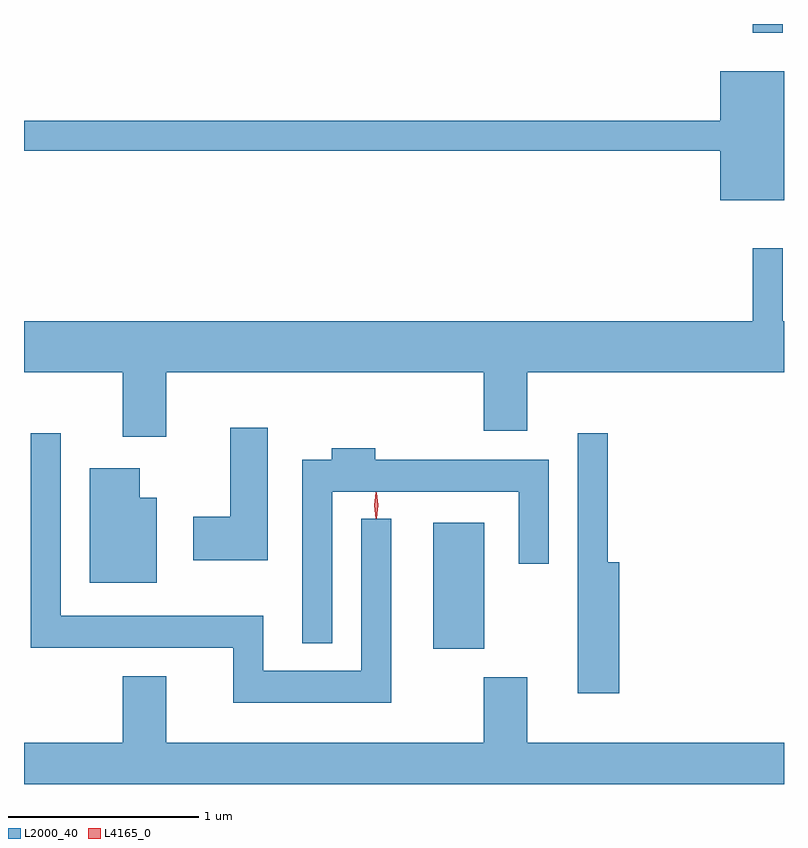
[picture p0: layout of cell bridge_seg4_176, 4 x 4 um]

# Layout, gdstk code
import gdstk
lib = gdstk.Library(unit=1e-6, precision=1e-09)
def R(c, l, rs):  # rectangles x0, y0, x1, y1
    for r in rs: c.add(gdstk.rectangle(r[:2], r[2:], *l))
def P(c, l, *ps):  # polygons
    for p in ps: c.add(gdstk.Polygon(p, *l))
L2000_40 = (2000, 40)
L4165_0 = (4165, 0)

bridge_seg4_176 = lib.new_cell('bridge_seg4_176')
R(bridge_seg4_176, L2000_40, [(887.176,1319.921,887.444,1320.584), (888.856,1323.163,889.014,1323.208)])
P(bridge_seg4_176, L2000_40, [(889.021,1322.959),(888.686,1322.959),(888.686,1322.699),(885.021,1322.699),(885.021,1322.541),(888.686,1322.541),(888.686,1322.281),(889.021,1322.281)],
  [(885.769,1321.376),(887.441,1321.376),(887.441,1321.066),(887.669,1321.066),(887.669,1321.376),(889.021,1321.376),(889.021,1321.644),(889.014,1321.644),(889.014,1322.028),(888.856,1322.028),(888.856,1321.644),(885.021,1321.644),(885.021,1321.376),(885.541,1321.376),(885.541,1321.036),(885.769,1321.036)],
  [(886.304,1321.084),(886.106,1321.084),(886.106,1320.614),(885.911,1320.614),(885.911,1320.386),(886.304,1320.386)],
  [(888.154,1320.374),(888.094,1320.374),(888.094,1321.053),(887.936,1321.053),(887.936,1319.686),(888.154,1319.686)],
  [(886.954,1320.603),(886.796,1320.603),(886.796,1319.804),(886.279,1319.804),(886.279,1320.094),(885.214,1320.094),(885.214,1321.053),(885.056,1321.053),(885.056,1319.926),(886.121,1319.926),(886.121,1319.636),(886.954,1319.636)],
  [(886.644,1320.746),(887.626,1320.746),(887.626,1320.368),(887.784,1320.368),(887.784,1320.914),(886.869,1320.914),(886.869,1320.974),(886.641,1320.974),(886.641,1320.914),(886.486,1320.914),(886.486,1319.948),(886.644,1319.948)],
  [(885.719,1320.714),(885.629,1320.714),(885.629,1320.869),(885.366,1320.869),(885.366,1320.266),(885.719,1320.266)],
  [(889.021,1319.424),(887.669,1319.424),(887.669,1319.769),(887.441,1319.769),(887.441,1319.424),(885.769,1319.424),(885.769,1319.774),(885.541,1319.774),(885.541,1319.424),(885.021,1319.424),(885.021,1319.208),(889.021,1319.208)])
P(bridge_seg4_176, L4165_0, [(886.876,1320.607),(886.876,1320.608),(886.866,1320.674),(886.876,1320.74),(886.876,1320.741),(886.877,1320.74),(886.886,1320.674),(886.877,1320.608)],
  [(886.873,1320.604),(886.864,1320.674),(886.873,1320.743),(886.874,1320.743),(886.874,1320.743),(886.884,1320.674),(886.874,1320.604),(886.874,1320.604)])

lib.write_gds('bridge_seg4_176.gds')
